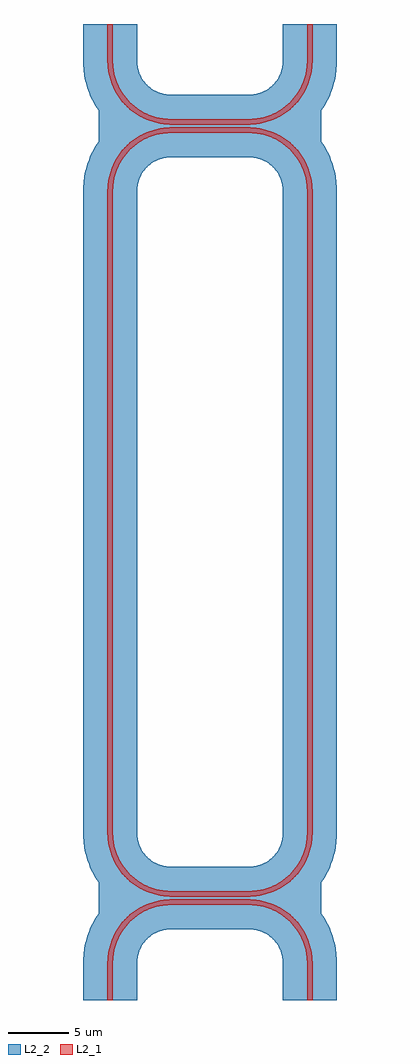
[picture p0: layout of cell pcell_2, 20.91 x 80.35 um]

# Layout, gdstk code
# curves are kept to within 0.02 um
from math import pi, radians
import gdstk
lib = gdstk.Library(unit=1e-6, precision=1e-09)
def R(c, l, rs):  # rectangles x0, y0, x1, y1
    for r in rs: c.add(gdstk.rectangle(r[:2], r[2:], *l))
def P(c, l, *ps):  # polygons
    for p in ps: c.add(gdstk.Polygon(p, *l))
L2_1 = (2, 1)
L2_2 = (2, 2)

pcell_1_wg1a = lib.new_cell('pcell_1_wg1a')
P(pcell_1_wg1a, L2_1, [(-8.003,-8.398),(-7.997,-5.461),(-7.971,-4.931),(-7.895,-4.404),(-7.718,-3.762),(-7.454,-3.15),(-7.107,-2.582),(-6.684,-2.067),(-6.193,-1.616),(-5.759,-1.307),(-5.172,-0.992),(-4.547,-0.762),(-3.895,-0.621),(-3.293,-0.571),(0,-0.559),(0,-0.109),(-3.311,-0.121),(-3.815,-0.157),(-4.39,-0.257),(-5.087,-0.47),(-5.874,-0.85),(-6.474,-1.264),(-7.011,-1.758),(-7.556,-2.441),(-7.919,-3.074),(-8.232,-3.89),(-8.386,-4.602),(-8.447,-5.45),(-8.453,-8.398)])
P(pcell_1_wg1a, L2_2, [(-6.003,-8.398),(-6.001,-5.694),(-5.949,-4.875),(-5.832,-4.426),(-5.641,-4.002),(-5.383,-3.617),(-5.121,-3.332),(-4.822,-3.086),(-4.422,-2.849),(-3.988,-2.683),(-3.61,-2.601),(-2.868,-2.561),(0,-2.559),(0,1.891),(-2.923,1.888),(-3.843,1.85),(-4.84,1.692),(-5.804,1.398),(-6.359,1.157),(-6.892,0.871),(-7.4,0.542),(-7.878,0.171),(-8.323,-0.239),(-8.733,-0.684),(-9.104,-1.162),(-9.433,-1.67),(-9.805,-2.386),(-10.029,-2.948),(-10.206,-3.526),(-10.366,-4.317),(-10.446,-5.404),(-10.453,-8.398)])

pcell_1_wg2a = lib.new_cell('pcell_1_wg2a')
P(pcell_1_wg2a, L2_1, [(-8.453,8.398),(-8.441,5.251),(-8.405,4.747),(-8.305,4.172),(-8.092,3.475),(-7.784,2.815),(-7.387,2.203),(-6.909,1.653),(-6.359,1.175),(-5.747,0.778),(-5.087,0.47),(-4.39,0.257),(-3.815,0.157),(-3.311,0.121),(0,0.109),(0,0.559),(-3.293,0.571),(-3.895,0.621),(-4.547,0.762),(-5.172,0.992),(-5.645,1.238),(-6.088,1.534),(-6.591,1.971),(-7.028,2.474),(-7.324,2.917),(-7.57,3.39),(-7.8,4.015),(-7.92,4.535),(-7.983,5.092),(-8.003,8.398)])
P(pcell_1_wg2a, L2_2, [(-10.453,8.398),(-10.429,4.945),(-10.366,4.317),(-10.206,3.526),(-9.96,2.758),(-9.534,1.845),(-8.985,0.999),(-8.323,0.239),(-7.563,-0.423),(-6.717,-0.972),(-5.804,-1.398),(-5.036,-1.644),(-4.245,-1.804),(-3.617,-1.867),(0,-1.891),(0,2.559),(-2.868,2.561),(-3.61,2.601),(-3.988,2.683),(-4.422,2.849),(-4.822,3.086),(-5.121,3.332),(-5.383,3.617),(-5.641,4.002),(-5.832,4.426),(-5.949,4.875),(-6.001,5.694),(-6.003,8.398)])

pcell_1_wg1b = lib.new_cell('pcell_1_wg1b')
P(pcell_1_wg1b, L2_1, [(0,-0.559),(3.101,-0.565),(3.631,-0.591),(4.158,-0.667),(4.8,-0.844),(5.412,-1.108),(5.98,-1.455),(6.495,-1.878),(6.946,-2.369),(7.255,-2.803),(7.57,-3.39),(7.8,-4.015),(7.92,-4.535),(7.983,-5.092),(8.003,-8.398),(8.453,-8.398),(8.441,-5.251),(8.405,-4.747),(8.305,-4.172),(8.092,-3.475),(7.712,-2.688),(7.298,-2.088),(6.804,-1.551),(6.121,-1.006),(5.488,-0.643),(4.672,-0.33),(3.96,-0.176),(3.112,-0.115),(0,-0.109)])
P(pcell_1_wg1b, L2_2, [(0,-2.559),(2.868,-2.561),(3.61,-2.601),(3.988,-2.683),(4.422,-2.849),(4.822,-3.086),(5.121,-3.332),(5.383,-3.617),(5.641,-4.002),(5.832,-4.426),(5.949,-4.875),(6.001,-5.694),(6.003,-8.398),(10.453,-8.398),(10.45,-5.639),(10.412,-4.719),(10.254,-3.722),(9.96,-2.758),(9.629,-2.023),(9.328,-1.498),(8.985,-0.999),(8.601,-0.532),(8.179,-0.098),(7.722,0.299),(7.234,0.656),(6.717,0.972),(6.176,1.243),(5.423,1.532),(4.84,1.692),(4.245,1.804),(3.158,1.884),(0,1.891)])

pcell_1_wg2b = lib.new_cell('pcell_1_wg2b')
P(pcell_1_wg2b, L2_1, [(0,0.109),(3.311,0.121),(3.815,0.157),(4.39,0.257),(5.087,0.47),(5.747,0.778),(6.359,1.175),(6.909,1.653),(7.387,2.203),(7.784,2.815),(8.092,3.475),(8.305,4.172),(8.405,4.747),(8.441,5.251),(8.453,8.398),(8.003,8.398),(7.983,5.092),(7.92,4.535),(7.8,4.015),(7.57,3.39),(7.324,2.917),(7.028,2.474),(6.591,1.971),(6.088,1.534),(5.645,1.238),(5.172,0.992),(4.547,0.762),(3.895,0.621),(3.293,0.571),(0,0.559)])
P(pcell_1_wg2b, L2_2, [(0,-1.891),(3.617,-1.867),(4.245,-1.804),(5.036,-1.644),(5.804,-1.398),(6.717,-0.972),(7.563,-0.423),(8.323,0.239),(8.985,0.999),(9.534,1.845),(9.96,2.758),(10.206,3.526),(10.366,4.317),(10.429,4.945),(10.453,8.398),(6.003,8.398),(6.001,5.694),(5.949,4.875),(5.832,4.426),(5.641,4.002),(5.383,3.617),(5.121,3.332),(4.822,3.086),(4.422,2.849),(3.988,2.683),(3.61,2.601),(2.868,2.561),(0,2.559)])

pcell_1 = lib.new_cell('pcell_1')
R(pcell_1, L2_2, [(-9.164,-2.225,9.164,2.225)])
pcell_1.add(gdstk.Reference(pcell_1_wg1a, (0,0)))
pcell_1.add(gdstk.Reference(pcell_1_wg2a, (0,0)))
pcell_1.add(gdstk.Reference(pcell_1_wg1b, (0,0)))
pcell_1.add(gdstk.Reference(pcell_1_wg2b, (0,0)))

wg_trace_1 = lib.new_cell('WG_TRACE_1')
R(wg_trace_1, L2_1, [(0,-0.225,46.762,0.225)])
P(wg_trace_1, L2_2, [(0,-2.225),(46.762,-2.225),(46.762,-0.225),(46.762,0.225),(46.762,2.225),(0,2.225),(0,0.225),(0,-0.225)])

pcell_2 = lib.new_cell('pcell_2')
pcell_2.add(gdstk.Reference(pcell_1, (0,0)))
pcell_2.add(gdstk.Reference(pcell_1, (0,-63.558), rotation=pi))
pcell_2.add(gdstk.Reference(wg_trace_1, (8.228,-8.398), rotation=3*pi/2))
pcell_2.add(gdstk.Reference(wg_trace_1, (-8.228,-55.16), rotation=pi/2))

lib.write_gds('pcell_2.gds')
